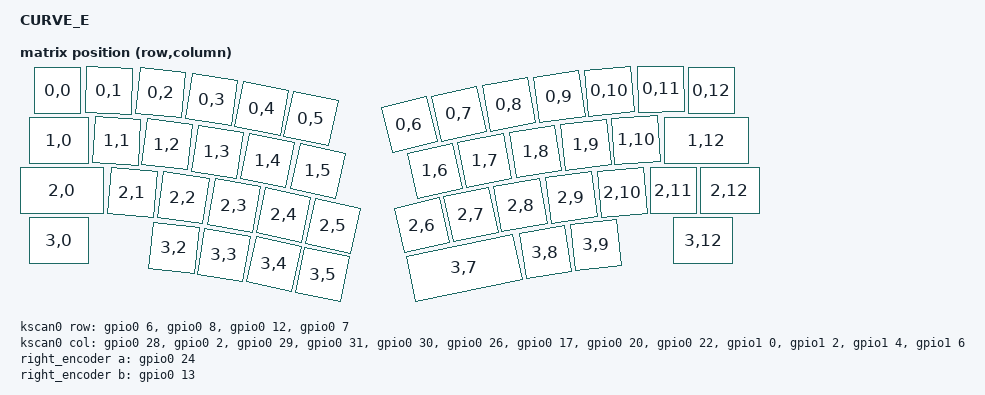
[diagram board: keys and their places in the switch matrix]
/*
* Copyright (c) 2021 The ZMK Contributors
*
* SPDX-License-Identifier: MIT
*/

/dts-v1/;
#include <nordic/nrf52840_qiaa.dtsi>
#include <common/nordic/nrf52840_uf2_boot_mode.dtsi>

#include <dt-bindings/zmk/matrix_transform.h>
#include <dt-bindings/led/led.h>
#include <physical_layouts.dtsi>

/ {
	model = "CURVE_E";
	compatible = "deemen17,curve_e";

	chosen {
		zephyr,code-partition = &code_partition;
		zephyr,sram = &sram0;
		zephyr,flash = &flash0;
		zephyr,console = &cdc_acm_uart;

		zmk,battery = &vbatt;
		zmk,kscan = &kscan0;
		zmk,physical-layout = &physical_layout0;
	};

	sensors {
		compatible = "zmk,keymap-sensors";
		sensors = <&right_encoder>;
		/* Normalized ratio: one action per four quadrature steps. */
		triggers-per-rotation = <1>;
	};

	physical_layout0: physical_layout_0 {
		compatible = "zmk,physical-layout";
		display-name = "Curve E (47 keys, curved)";
		transform = <&default_transform>;
		kscan = <&kscan0>;

		/* Geometry from Deemen17/zmk-keyboards-dekb 66f10de, LEFT SPACE 1U (MIT). */
		keys
			= <&key_physical_attrs 100 100    0    0       0     0     0>
			, <&key_physical_attrs 100 100  109 (-7)     150 (-126) (-212)>
			, <&key_physical_attrs 100 100  231 (-34)     563 (-126) (-212)>
			, <&key_physical_attrs 100 100  344 (-55)     838 (-126) (-212)>
			, <&key_physical_attrs 100 100  453 (-75)    1050 (-126) (-212)>
			, <&key_physical_attrs 100 100  559 (-94)    1213 (-126) (-212)>
			, <&key_physical_attrs 100 100  607  258 (-1300) (-126) (-212)>
			, <&key_physical_attrs 100 100  716  246 (-1212) (-126) (-212)>
			, <&key_physical_attrs 100 100  832  220 (-1050) (-126) (-212)>
			, <&key_physical_attrs 100 100  951  182  (-837) (-126) (-212)>
			, <&key_physical_attrs 100 100 1072  126  (-562) (-126) (-212)>
			, <&key_physical_attrs 100 100 1205   10   (-50) (-126) (-212)>
			, <&key_physical_attrs 100 100 1307    0       0     0     0>
			, <&key_physical_attrs 125 100 (-10)  100       0     0     0>
			, <&key_physical_attrs 100 100  139   84     335 (-126) (-212)>
			, <&key_physical_attrs 100 100  259   61     650 (-126) (-212)>
			, <&key_physical_attrs 100 100  374   41     900 (-126) (-212)>
			, <&key_physical_attrs 100 100  486   20    1100 (-126) (-212)>
			, <&key_physical_attrs 100 100  596    1    1250 (-126) (-212)>
			, <&key_physical_attrs 100 100  641  353 (-1250) (-126) (-212)>
			, <&key_physical_attrs 100 100  759  330 (-1100) (-126) (-212)>
			, <&key_physical_attrs 100 100  882  295  (-900) (-126) (-212)>
			, <&key_physical_attrs 100 100 1007  246  (-650) (-126) (-212)>
			, <&key_physical_attrs 100 100 1134  177  (-335) (-126) (-212)>
			, <&key_physical_attrs 175 100 1260  100       0     0     0>
			, <&key_physical_attrs 175 100 (-29)  200       0     0     0>
			, <&key_physical_attrs 100 100  189  174     500 (-126) (-212)>
			, <&key_physical_attrs 100 100  314  151     800 (-126) (-212)>
			, <&key_physical_attrs 100 100  431  131    1000 (-126) (-212)>
			, <&key_physical_attrs 100 100  545  108    1200 (-126) (-212)>
			, <&key_physical_attrs 100 100  653   93    1310 (-126) (-212)>
			, <&key_physical_attrs 100 100  586  460 (-1300) (-126) (-212)>
			, <&key_physical_attrs 100 100  699  446 (-1200) (-126) (-212)>
			, <&key_physical_attrs 100 100  824  414 (-1000) (-126) (-212)>
			, <&key_physical_attrs 100 100  950  377  (-800) (-126) (-212)>
			, <&key_physical_attrs 100 100 1084  316  (-500) (-126) (-212)>
			, <&key_physical_attrs 100 100 1232  200       0     0     0>
			, <&key_physical_attrs 125 100 1332  200       0     0     0>
			, <&key_physical_attrs 125 100 (-10)  300       0     0     0>
			, <&key_physical_attrs 100 100  296  265     650 (-126) (-212)>
			, <&key_physical_attrs 100 100  419  243     900 (-126) (-212)>
			, <&key_physical_attrs 100 100  546  208    1200 (-126) (-212)>
			, <&key_physical_attrs 100 100  646  208    1200 (-126) (-212)>
			, <&key_physical_attrs 225 100  601  548 (-1200) (-126) (-212)>
			, <&key_physical_attrs 100 100  870  497  (-900) (-126) (-212)>
			, <&key_physical_attrs 100 100 1004  448  (-650) (-126) (-212)>
			, <&key_physical_attrs 125 100 1279  300       0     0     0>
			;
	};

	default_transform: keymap_transform_0 {
		compatible = "zmk,matrix-transform";
		columns = <13>;
		rows = <4>;
		map = <
			RC(0,0) RC(0,1) RC(0,2) RC(0,3) RC(0,4) RC(0,5) RC(0,6) RC(0,7) RC(0,8) RC(0,9) RC(0,10) RC(0,11) RC(0,12)  
			RC(1,0) RC(1,1) RC(1,2) RC(1,3) RC(1,4) RC(1,5) RC(1,6) RC(1,7) RC(1,8) RC(1,9) RC(1,10)		  RC(1,12) 
			RC(2,0) RC(2,1) RC(2,2) RC(2,3) RC(2,4) RC(2,5) RC(2,6) RC(2,7) RC(2,8) RC(2,9) RC(2,10) RC(2,11) RC(2,12)  
			RC(3,0) 		RC(3,2) RC(3,3) RC(3,4) RC(3,5) 		RC(3,7) RC(3,8) RC(3,9) 				  RC(3,12)
		>;
	};


	kscan0: kscan_0 {
		compatible = "zmk,kscan-gpio-matrix";
		label = "KSCAN";
		diode-direction = "col2row";

		col-gpios
			= <&gpio0 28  GPIO_ACTIVE_HIGH>
			, <&gpio0 2  GPIO_ACTIVE_HIGH>
			, <&gpio0 29 GPIO_ACTIVE_HIGH>
			, <&gpio0 31 GPIO_ACTIVE_HIGH>
			, <&gpio0 30 GPIO_ACTIVE_HIGH>
			, <&gpio0 26 GPIO_ACTIVE_HIGH>
			, <&gpio0 17 GPIO_ACTIVE_HIGH>
			, <&gpio0 20 GPIO_ACTIVE_HIGH>
			, <&gpio0 22 GPIO_ACTIVE_HIGH>
			, <&gpio1 0  GPIO_ACTIVE_HIGH>
			, <&gpio1 2  GPIO_ACTIVE_HIGH>
			, <&gpio1 4  GPIO_ACTIVE_HIGH>
			, <&gpio1 6  GPIO_ACTIVE_HIGH>
			;

		row-gpios
			= <&gpio0 6  (GPIO_ACTIVE_HIGH | GPIO_PULL_DOWN)>
			, <&gpio0 8  (GPIO_ACTIVE_HIGH | GPIO_PULL_DOWN)>
			, <&gpio0 12 (GPIO_ACTIVE_HIGH | GPIO_PULL_DOWN)>
			, <&gpio0 7  (GPIO_ACTIVE_HIGH | GPIO_PULL_DOWN)>
			;
	};

	leds {
		compatible = "gpio-leds";
		blue_led: led_0 {
			gpios = <&gpio1 10 GPIO_ACTIVE_HIGH>;
			label = "Blue LED";
		};
	};

    	right_encoder: encoder_right {
        compatible = "alps,ec11";
        a-gpios = <&gpio0 24 (GPIO_ACTIVE_HIGH | GPIO_PULL_UP)>;
        b-gpios = <&gpio0 13  (GPIO_ACTIVE_HIGH | GPIO_PULL_UP)>;
        steps = <4>;
		status = "okay";
    	};

	vbatt: vbatt {
		compatible = "zmk,battery-voltage-divider";
		label = "BATTERY";
		io-channels = <&adc 2>;
		output-ohms = <2000000>;
		full-ohms = <(2000000 + 820000)>;
	};
};

/* Preserve the previous board DCDC default using the current regulator API. */
&reg1 {
	regulator-initial-mode = <NRF5X_REG_MODE_DCDC>;
};

&adc {
	status = "okay";
};

&gpiote {
	status = "okay";
};

&gpio0 {
	status = "okay";
};

&gpio1 {
	status = "okay";
};

zephyr_udc0: &usbd {
	status = "okay";
	cdc_acm_uart: cdc_acm_uart {
	compatible = "zephyr,cdc-acm-uart";
	label = "CDC_ACM_0";
      };
};

&flash0 {
	/*
	 * For more information, see:
	 * http://docs.zephyrproject.org/latest/devices/dts/flash_partitions.html
	 */
	partitions {
		compatible = "fixed-partitions";
		#address-cells = <1>;
		#size-cells = <1>;

		sd_partition: partition@0 {
			label = "softdevice";
			reg = <0x00000000 0x00026000>;
		};
		code_partition: partition@26000 {
			label = "code_partition";
			/* UF2 USER_FLASH_END is 0xea000; keep reserved DFU data untouched. */
			reg = <0x00026000 0x000c4000>;
		};

		/*
		 * The flash starting at 0x000ec000 and ending at
		 * 0x000f3fff is reserved for use by the application.
		 */

		/*
		 * Storage partition will be used by FCB/LittleFS/NVS
		 * if enabled.
		 */
		storage_partition: partition@ec000 {
			label = "storage";
			reg = <0x000ec000 0x00008000>;
		};

		boot_partition: partition@f4000 {
			label = "adafruit_boot";
			reg = <0x000f4000 0x0000c000>;
		};
	};
};
